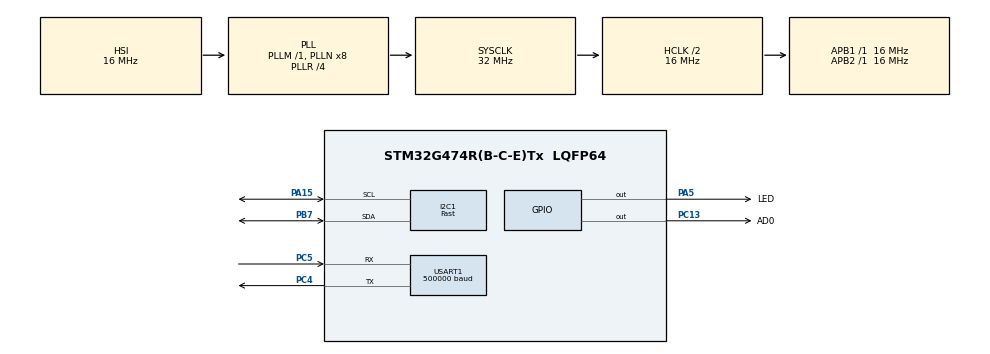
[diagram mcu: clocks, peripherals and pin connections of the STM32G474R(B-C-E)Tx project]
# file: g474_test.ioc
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I2C1.I2C_Speed_Mode=I2C_Fast
I2C1.Timing=0x0010061A
Mcu.Family=STM32G4
Mcu.Name=STM32G474R(B-C-E)Tx
Mcu.Package=LQFP64
NVIC.PriorityGroup=NVIC_PRIORITYGROUP_4
NVIC.TIM6_DAC_IRQn=true\:0\:0\:false\:false\:true\:true\:true\:true
NVIC.USART1_IRQn=true\:0\:0\:false\:false\:true\:true\:true\:true
PA13.Mode=Serial_Wire
PA13.Signal=SYS_JTMS-SWDIO
PA14.Mode=Serial_Wire
PA14.Signal=SYS_JTCK-SWCLK
PA15.Mode=I2C
PA15.Signal=I2C1_SCL
PA5.GPIO_Label=LED
PA5.GPIO_PuPd=GPIO_PULLUP
PA5.GPIO_Speed=GPIO_SPEED_FREQ_LOW
PA5.Signal=GPIO_Output
PB7.Mode=I2C
PB7.Signal=I2C1_SDA
PC13.GPIO_Label=AD0
PC13.GPIO_PuPd=GPIO_PULLDOWN
PC13.Signal=GPIO_Output
PC14-OSC32_IN.Mode=LSE-External-Oscillator
PC14-OSC32_IN.Signal=RCC_OSC32_IN
PC15-OSC32_OUT.Mode=LSE-External-Oscillator
PC15-OSC32_OUT.Signal=RCC_OSC32_OUT
PC4.Mode=Asynchronous
PC4.Signal=USART1_TX
PC5.Mode=Asynchronous
PC5.Signal=USART1_RX
PF0-OSC_IN.Mode=HSE-External-Oscillator
PF0-OSC_IN.Signal=RCC_OSC_IN
PF1-OSC_OUT.Mode=HSE-External-Oscillator
PF1-OSC_OUT.Signal=RCC_OSC_OUT
ProjectManager.HeapSize=0x200
ProjectManager.StackSize=0x400
ProjectManager.TargetToolchain=Makefile
RCC.ADC12Freq_Value=32000000
RCC.ADC345Freq_Value=32000000
RCC.AHBCLKDivider=RCC_SYSCLK_DIV2
RCC.AHBFreq_Value=16000000
RCC.APB1Freq_Value=16000000
RCC.APB1TimFreq_Value=16000000
RCC.APB2Freq_Value=16000000
RCC.APB2TimFreq_Value=16000000
RCC.CortexFreq_Value=16000000
RCC.EXTERNAL_CLOCK_VALUE=12288000
RCC.HCLKFreq_Value=16000000
RCC.HSE_VALUE=24000000
RCC.HSI48_VALUE=48000000
RCC.HSI_VALUE=16000000
RCC.PLLR=RCC_PLLR_DIV4
RCC.SYSCLKFreq_VALUE=32000000
RCC.SYSCLKSource=RCC_SYSCLKSOURCE_PLLCLK
RCC.USART1CLockSelection=RCC_USART1CLKSOURCE_SYSCLK
RCC.USBFreq_Value=64000000
RCC.VCOOutputFreq_Value=128000000
USART1.BaudRate=500000
USART1.VirtualMode-Asynchronous=VM_ASYNC
VP_SYS_VS_DBSignals.Mode=DisableDeadBatterySignals
VP_TIM1_VS_ClockSourceINT.Mode=Internal
VP_TIM1_VS_ClockSourceITR.Mode=TriggerSource_ITR0
VP_TIM6_VS_ClockSourceINT.Mode=Enable_Timer
board=custom

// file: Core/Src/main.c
/* USER CODE BEGIN Header */
/**
 ******************************************************************************
 * @file           : main.c
 * @brief          : Main program body
 ******************************************************************************
 * @attention
 *
 * Copyright (c) 2024 STMicroelectronics.
 * All rights reserved.
 *
 * This software is licensed under terms that can be found in the LICENSE file
 * in the root directory of this software component.
 * If no LICENSE file comes with this software, it is provided AS-IS.
 *
 ******************************************************************************
 */
/* USER CODE END Header */
#include "main.h"
#include "i2c.h"
#include "tim.h"
#include "usart.h"
#include "gpio.h"

/* USER CODE BEGIN Includes */
#include "mpu.h"
#include <stdarg.h>
#include <stdint.h>
#include <stdio.h>
#include <stm32g4xx_it.h>
/* USER CODE END Includes */

/* USER CODE BEGIN PTD */
#include "mpu9250.h"

/* USER CODE END PTD */

/* USER CODE BEGIN PM */
static char printf_buff[256];
void uart_printf(char *fmt, ...) {
  va_list args;
  int ret;
  va_start(args, fmt);
  ret = vsprintf(printf_buff, fmt, args);
  va_end(args);
  if (ret > 0) {
    HAL_UART_Transmit(&huart1, (uint8_t *)printf_buff, ret, HAL_MAX_DELAY);
  }
}

extern void CmdProcessing(UART_HandleTypeDef *huart);
extern char chcmd[64];
extern uint8_t MPU_readbuf[128];

float angle = 0.0;
extern MPU_data gryo_data;
extern MPU_data acc_data;
extern uint8_t ak_id;
/* USER CODE END PM */

void SystemClock_Config(void);

int main(void)
{

  /* MCU Configuration--------------------------------------------------------*/

  /* Reset of all peripherals, Initializes the Flash interface and the Systick. */
  HAL_Init();

  /* Configure the system clock */
  SystemClock_Config();

  /* Initialize all configured peripherals */
  MX_GPIO_Init();
  MX_USART1_UART_Init();
  MX_TIM1_Init();
  MX_I2C1_Init();
  MX_TIM6_Init();
  /* USER CODE BEGIN 2 */
  HAL_UART_RegisterCallback(&huart1, HAL_UART_RX_COMPLETE_CB_ID, CmdProcessing);
  HAL_UART_Receive_IT(&huart1, (uint8_t *)chcmd, 1);
  /* USER CODE END 2 */

  /* Infinite loop */
  /* USER CODE BEGIN WHILE */
  int ret = 0;
  float pitch, roll, yaw;
  do {
    ret = MPU9250_DMP_init();
    uart_printf("MPU init ret = %d\n", ret);
    HAL_Delay(1000);
  } while (ret);
  while (1) {
    /* USER CODE END WHILE */

    /* USER CODE BEGIN 3 */
    /*HAL_GPIO_TogglePin(LED_GPIO_Port, LED_Pin);*/
    /*MPU_ReadMulBytes(MPU_RA_GYRO_XOUT_H, 4, MPU_readbuf);*/
    /*HAL_Delay(100);*/
    /*MPU_ReadMulBytes(MPU_RA_MAG, 2, MPU_readbuf);*/
    /*uart_printf("%x\n", ak_id);*/
    /*MPU_ReadMulBytes(MPU_RA_ACCEL_XOUT_H, 6, MPU_readbuf);*/
    /*uart_printf("x_gryo:%d, y_gryo:%d, z_gryo:%d\n", gryo_data.x, gryo_data.y,*/
     /*gryo_data.z);*/
    /*uart_printf("x_acc:%d, y_acc:%d, z_acc:%d\n", acc_data.x, acc_data.y,*/
     /*acc_data.z);*/
    /*if (MPU9250_DMP_Get_Data(&pitch, &roll, &yaw) == 0) {*/
      /*uart_printf("pitch = %f, roll = %f\n", pitch, roll);*/
    /*}*/
    if (MPU9250_DMP_Get_Data(&pitch, &roll, &yaw) == 0) {
      uart_printf("y%fyp%fpr%fr\n", yaw, pitch, roll);
    }
    HAL_Delay(5);
  }
  /* USER CODE END 3 */
}

void SystemClock_Config(void)
{
  RCC_OscInitTypeDef RCC_OscInitStruct = {0};
  RCC_ClkInitTypeDef RCC_ClkInitStruct = {0};

  /** Configure the main internal regulator output voltage
  */
  HAL_PWREx_ControlVoltageScaling(PWR_REGULATOR_VOLTAGE_SCALE1);

  /** Initializes the RCC Oscillators according to the specified parameters
  * in the RCC_OscInitTypeDef structure.
  */
  RCC_OscInitStruct.OscillatorType = RCC_OSCILLATORTYPE_HSI;
  RCC_OscInitStruct.HSIState = RCC_HSI_ON;
  RCC_OscInitStruct.HSICalibrationValue = RCC_HSICALIBRATION_DEFAULT;
  RCC_OscInitStruct.PLL.PLLState = RCC_PLL_ON;
  RCC_OscInitStruct.PLL.PLLSource = RCC_PLLSOURCE_HSI;
  RCC_OscInitStruct.PLL.PLLM = RCC_PLLM_DIV1;
  RCC_OscInitStruct.PLL.PLLN = 8;
  RCC_OscInitStruct.PLL.PLLP = RCC_PLLP_DIV2;
  RCC_OscInitStruct.PLL.PLLQ = RCC_PLLQ_DIV2;
  RCC_OscInitStruct.PLL.PLLR = RCC_PLLR_DIV4;
  if (HAL_RCC_OscConfig(&RCC_OscInitStruct) != HAL_OK)
  {
    Error_Handler();
  }

  /** Initializes the CPU, AHB and APB buses clocks
  */
  RCC_ClkInitStruct.ClockType = RCC_CLOCKTYPE_HCLK|RCC_CLOCKTYPE_SYSCLK
                              |RCC_CLOCKTYPE_PCLK1|RCC_CLOCKTYPE_PCLK2;
  RCC_ClkInitStruct.SYSCLKSource = RCC_SYSCLKSOURCE_PLLCLK;
  RCC_ClkInitStruct.AHBCLKDivider = RCC_SYSCLK_DIV2;
  RCC_ClkInitStruct.APB1CLKDivider = RCC_HCLK_DIV1;
  RCC_ClkInitStruct.APB2CLKDivider = RCC_HCLK_DIV1;

  if (HAL_RCC_ClockConfig(&RCC_ClkInitStruct, FLASH_LATENCY_0) != HAL_OK)
  {
    Error_Handler();
  }
}

void Error_Handler(void)
{
  __disable_irq();
  while (1) {
  }
}

#ifdef  USE_FULL_ASSERT
/**
  * @brief  Reports the name of the source file and the source line number
  *         where the assert_param error has occurred.
  * @param  file: pointer to the source file name
  * @param  line: assert_param error line source number
  * @retval None
  */
void assert_failed(uint8_t *file, uint32_t line)
{
  /* USER CODE BEGIN 6 */
  /* User can add his own implementation to report the file name and line
     number, ex: printf("Wrong parameters value: file %s on line %d\r\n", file,
     line) */
  /* USER CODE END 6 */
}
#endif /* USE_FULL_ASSERT */
